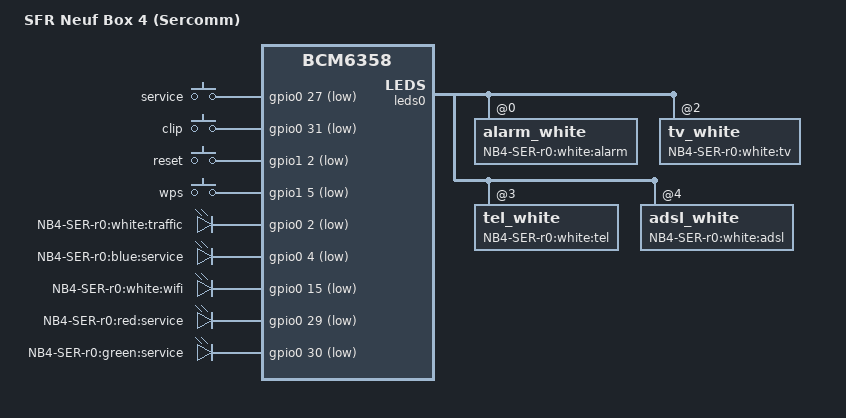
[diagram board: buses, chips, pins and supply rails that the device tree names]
/dts-v1/;

#include "bcm6358.dtsi"

#include <dt-bindings/input/input.h>

/ {
	model = "SFR Neuf Box 4 (Sercomm)";
	compatible = "sfr,nb4-ser-r0", "brcm,bcm6358";

	gpio-keys-polled {
		compatible = "gpio-keys-polled";
		#address-cells = <1>;
		#size-cells = <0>;
		poll-interval = <20>;
		debounce-interval = <60>;

		service {
			label = "service";
			gpios = <&gpio0 27 1>;
			linux,code = <BTN_0>;
		};
		clip {
			label = "clip";
			gpios = <&gpio0 31 1>;
			linux,code = <BTN_1>;
		};
		reset {
			label = "reset";
			gpios = <&gpio1 2 1>;
			linux,code = <KEY_RESTART>;
		};
		wps {
			label = "wps";
			gpios = <&gpio1 5 1>;
			linux,code = <KEY_WPS_BUTTON>;
		};
	};

	gpio-leds {
		compatible = "gpio-leds";

		traffic_white {
			label = "NB4-SER-r0:white:traffic";
			gpios = <&gpio0 2 1>;
		};
		service_blue {
			label = "NB4-SER-r0:blue:service";
			gpios = <&gpio0 4 1>;
		};
		wifi_white {
			label = "NB4-SER-r0:white:wifi";
			gpios = <&gpio0 15 1>;
		};
		service_red {
			label = "NB4-SER-r0:red:service";
			gpios = <&gpio0 29 1>;
		};
		service_green {
			label = "NB4-SER-r0:green:service";
			gpios = <&gpio0 30 1>;
		};
	};
};

&leds0 {
	status = "ok";

	alarm_white@0 {
		reg = <0>;
		active-low;
		label = "NB4-SER-r0:white:alarm";
	};
	tv_white@2 {
		reg = <2>;
		active-low;
		label = "NB4-SER-r0:white:tv";
	};
	tel_white@3 {
		reg = <3>;
		active-low;
		label = "NB4-SER-r0:white:tel";
	};
	adsl_white@4 {
		reg = <4>;
		active-low;
		label = "NB4-SER-r0:white:adsl";
	};
};
